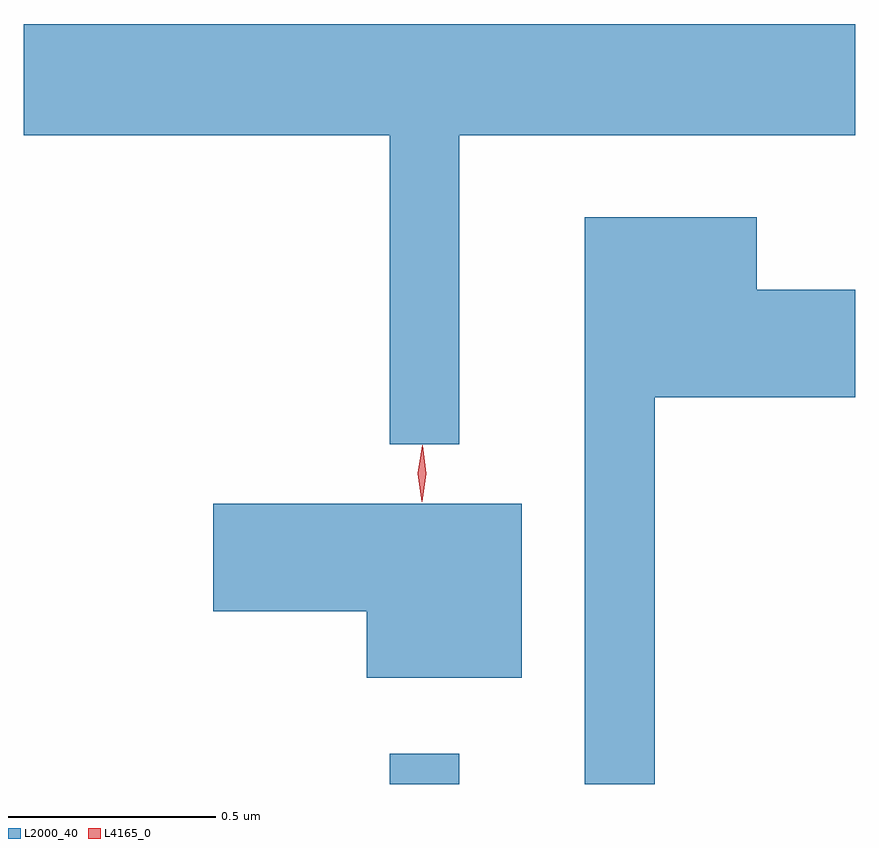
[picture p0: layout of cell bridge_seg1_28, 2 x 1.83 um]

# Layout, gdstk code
import gdstk
lib = gdstk.Library(unit=1e-6, precision=1e-09)
def R(c, l, rs):  # rectangles x0, y0, x1, y1
    for r in rs: c.add(gdstk.rectangle(r[:2], r[2:], *l))
def P(c, l, *ps):  # polygons
    for p in ps: c.add(gdstk.Polygon(p, *l))
L2000_40 = (2000, 40)
L4165_0 = (4165, 0)

bridge_seg1_28 = lib.new_cell('bridge_seg1_28')
R(bridge_seg1_28, L2000_40, [(1650.581,842.515,1650.749,842.588)])
P(bridge_seg1_28, L2000_40, [(1650.749,844.076),(1651.701,844.076),(1651.701,844.344),(1649.701,844.344),(1649.701,844.076),(1650.581,844.076),(1650.581,843.333),(1650.749,843.333)],
  [(1651.219,843.446),(1651.701,843.446),(1651.701,843.704),(1651.464,843.704),(1651.464,843.879),(1651.051,843.879),(1651.051,842.515),(1651.219,842.515)],
  [(1650.899,843.189),(1650.156,843.189),(1650.156,842.931),(1650.526,842.931),(1650.526,842.771),(1650.899,842.771)])
P(bridge_seg1_28, L4165_0, [(1650.658,843.2),(1650.658,843.201),(1650.649,843.264),(1650.66,843.326),(1650.66,843.327),(1650.661,843.326),(1650.669,843.263),(1650.659,843.201)],
  [(1650.658,843.194),(1650.658,843.194),(1650.649,843.262),(1650.66,843.33),(1650.66,843.33),(1650.661,843.33),(1650.669,843.262),(1650.659,843.194)])

lib.write_gds('bridge_seg1_28.gds')
